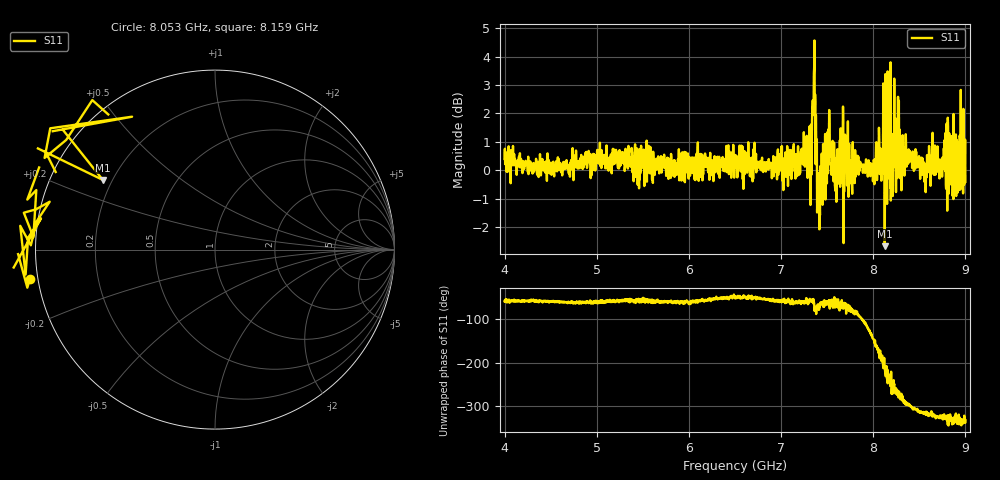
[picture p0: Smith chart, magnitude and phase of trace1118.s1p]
! Created with skrf 1.8.0 (http://scikit-rf.org).
# Hz S RI R 50.0
!freq ReS11 ImS11
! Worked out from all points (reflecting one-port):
!   1601 points, 4 GHz to 9 GHz, reference 50 ohm
!   lowest |S11| = -2.7 dB at 8.125 GHz (marker M1), VSWR 6.56, Z = 8.22 + j13.9 ohm
!   phase of S11 starts at -59 deg and turns -275 deg over the sweep
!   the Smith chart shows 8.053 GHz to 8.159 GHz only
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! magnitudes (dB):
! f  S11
! 4 GHz  0.4
! 4.625 GHz  -0.2
! 5.25 GHz  0.3
! 5.875 GHz  0.1
! 6.5 GHz  0.2
! 7.125 GHz  0.3
! 7.309 GHz  1.5
! 7.347 GHz  2.2
! 7.359 GHz  3.6
! 7.381 GHz  1.0
! 7.397 GHz  -0.1
! 7.416 GHz  -2.1
! 7.519 GHz  1.0
! 7.578 GHz  0.6
! 7.65 GHz  0.3
! 7.75 GHz  -0.2
! 7.994 GHz  0.2
! 8.125 GHz  -2.7
! 8.178 GHz  3.2
! 8.216 GHz  0.6
! 8.253 GHz  1.1
! 8.312 GHz  1.2
! 8.375 GHz  0.7
! 8.556 GHz  -0.4
! 8.622 GHz  -0.5
! 8.906 GHz  0.8
! 8.956 GHz  0.2
! 9 GHz  -0.4
